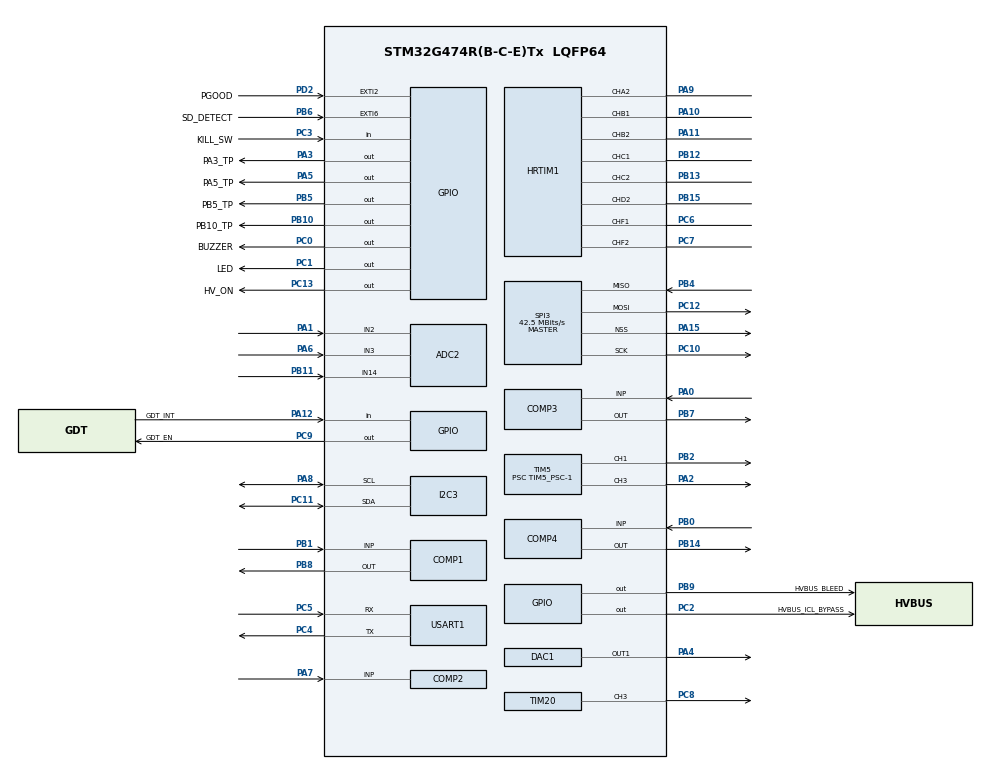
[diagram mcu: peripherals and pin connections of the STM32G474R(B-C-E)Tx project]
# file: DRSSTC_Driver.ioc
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ADC2.Channel-0\#ChannelRegularConversion=ADC_CHANNEL_2
ADC2.ContinuousConvMode=ENABLE
ADC2.EnableInjectedConversion=ENABLE
ADC2.GainCompensation=0
ADC2.InjNumberOfConversion=1
ADC2.InjectedChannel-1\#ChannelInjectedConversion=ADC_CHANNEL_14
ADC2.InjectedOffsetNumber-1\#ChannelInjectedConversion=ADC_OFFSET_NONE
ADC2.InjectedRank-1\#ChannelInjectedConversion=1
ADC2.InjectedSamplingTime-1\#ChannelInjectedConversion=ADC_SAMPLETIME_12CYCLES_5
ADC2.NbrOfConversionFlag=1
ADC2.OffsetNumber-0\#ChannelRegularConversion=ADC_OFFSET_NONE
ADC2.Rank-0\#ChannelRegularConversion=1
ADC2.Rank1_Channel=ADC_CHANNEL_14
ADC2.SamplingTime-0\#ChannelRegularConversion=ADC_SAMPLETIME_12CYCLES_5
ADC2.SingleDiff-0\#ChannelRegularConversion=ADC_DIFFERENTIAL_ENDED
COMP1.Hysteresis=COMP_HYSTERESIS_50MV
COMP2.Hysteresis=COMP_HYSTERESIS_50MV
COMP3.Hysteresis=COMP_HYSTERESIS_50MV
COMP3.TriggerMode=COMP_TRIGGERMODE_NONE
COMP4.Hysteresis=COMP_HYSTERESIS_50MV
DAC1.DAC_Channel-DAC_OUT2_Int=DAC_CHANNEL_2
DAC3.DAC_Channel-DAC_OUT2_Int=DAC_CHANNEL_2
DAC3.DAC_HighFrequency_OUT1-DAC_OUT1_Int=DAC_HIGH_FREQUENCY_INTERFACE_MODE_ABOVE_160MHZ
Dma.ADC2.3.Direction=DMA_PERIPH_TO_MEMORY
Dma.ADC2.3.EventEnable=DISABLE
Dma.ADC2.3.Instance=DMA1_Channel1
Dma.ADC2.3.MemDataAlignment=DMA_MDATAALIGN_HALFWORD
Dma.ADC2.3.MemInc=DMA_MINC_DISABLE
Dma.ADC2.3.Mode=DMA_CIRCULAR
Dma.ADC2.3.PeriphDataAlignment=DMA_PDATAALIGN_HALFWORD
Dma.ADC2.3.PeriphInc=DMA_PINC_DISABLE
Dma.ADC2.3.Polarity=HAL_DMAMUX_REQ_GEN_RISING
Dma.ADC2.3.Priority=DMA_PRIORITY_MEDIUM
Dma.ADC2.3.RequestNumber=1
Dma.ADC2.3.SignalID=NONE
Dma.ADC2.3.SyncEnable=DISABLE
Dma.ADC2.3.SyncPolarity=HAL_DMAMUX_SYNC_NO_EVENT
Dma.ADC2.3.SyncRequestNumber=1
Dma.ADC2.3.SyncSignalID=NONE
Dma.Request0=TIM5_CH2
Dma.Request1=USART1_TX
Dma.Request2=USART1_RX
Dma.Request3=ADC2
Dma.TIM5_CH2.0.Direction=DMA_PERIPH_TO_MEMORY
Dma.TIM5_CH2.0.EventEnable=DISABLE
Dma.TIM5_CH2.0.Instance=DMA2_Channel6
Dma.TIM5_CH2.0.MemDataAlignment=DMA_MDATAALIGN_WORD
Dma.TIM5_CH2.0.MemInc=DMA_MINC_DISABLE
Dma.TIM5_CH2.0.Mode=DMA_CIRCULAR
Dma.TIM5_CH2.0.PeriphDataAlignment=DMA_PDATAALIGN_WORD
Dma.TIM5_CH2.0.PeriphInc=DMA_PINC_DISABLE
Dma.TIM5_CH2.0.Polarity=HAL_DMAMUX_REQ_GEN_RISING
Dma.TIM5_CH2.0.Priority=DMA_PRIORITY_LOW
Dma.TIM5_CH2.0.RequestNumber=1
Dma.TIM5_CH2.0.SignalID=NONE
Dma.TIM5_CH2.0.SyncEnable=DISABLE
Dma.TIM5_CH2.0.SyncPolarity=HAL_DMAMUX_SYNC_NO_EVENT
Dma.TIM5_CH2.0.SyncRequestNumber=1
Dma.TIM5_CH2.0.SyncSignalID=NONE
Dma.USART1_RX.2.Direction=DMA_PERIPH_TO_MEMORY
Dma.USART1_RX.2.EventEnable=DISABLE
Dma.USART1_RX.2.Instance=DMA1_Channel6
Dma.USART1_RX.2.MemDataAlignment=DMA_MDATAALIGN_BYTE
Dma.USART1_RX.2.MemInc=DMA_MINC_ENABLE
Dma.USART1_RX.2.Mode=DMA_NORMAL
Dma.USART1_RX.2.PeriphDataAlignment=DMA_PDATAALIGN_BYTE
Dma.USART1_RX.2.PeriphInc=DMA_PINC_DISABLE
Dma.USART1_RX.2.Polarity=HAL_DMAMUX_REQ_GEN_RISING
Dma.USART1_RX.2.Priority=DMA_PRIORITY_HIGH
Dma.USART1_RX.2.RequestNumber=1
Dma.USART1_RX.2.SignalID=NONE
Dma.USART1_RX.2.SyncEnable=DISABLE
Dma.USART1_RX.2.SyncPolarity=HAL_DMAMUX_SYNC_NO_EVENT
Dma.USART1_RX.2.SyncRequestNumber=1
Dma.USART1_RX.2.SyncSignalID=NONE
Dma.USART1_TX.1.Direction=DMA_MEMORY_TO_PERIPH
Dma.USART1_TX.1.EventEnable=DISABLE
Dma.USART1_TX.1.Instance=DMA1_Channel7
Dma.USART1_TX.1.MemDataAlignment=DMA_MDATAALIGN_BYTE
Dma.USART1_TX.1.MemInc=DMA_MINC_ENABLE
Dma.USART1_TX.1.Mode=DMA_NORMAL
Dma.USART1_TX.1.PeriphDataAlignment=DMA_PDATAALIGN_BYTE
Dma.USART1_TX.1.PeriphInc=DMA_PINC_DISABLE
Dma.USART1_TX.1.Polarity=HAL_DMAMUX_REQ_GEN_RISING
Dma.USART1_TX.1.Priority=DMA_PRIORITY_HIGH
Dma.USART1_TX.1.RequestNumber=1
Dma.USART1_TX.1.SignalID=NONE
Dma.USART1_TX.1.SyncEnable=DISABLE
Dma.USART1_TX.1.SyncPolarity=HAL_DMAMUX_SYNC_NO_EVENT
Dma.USART1_TX.1.SyncRequestNumber=1
Dma.USART1_TX.1.SyncSignalID=NONE
FREERTOS.Tasks01=bspTask,24,128,StartBspTask,As weak,NULL,Dynamic,NULL,NULL
FREERTOS.configCHECK_FOR_STACK_OVERFLOW=2
FREERTOS.configTOTAL_HEAP_SIZE=45000
FREERTOS.configUSE_NEWLIB_REENTRANT=1
HRTIM1.CaptureUnit1-Output_TB1TB2=HRTIM_CAPTUREUNIT_1
HRTIM1.CaptureUnit1-Output_TC1TC2=HRTIM_CAPTUREUNIT_1
HRTIM1.CaptureUnit2-Output_TB1TB2=HRTIM_CAPTUREUNIT_2
HRTIM1.CaptureUnit2-Output_TF1TF2=HRTIM_CAPTUREUNIT_2
HRTIM1.CompareUnit1-Output_TB1TB2=HRTIM_COMPAREUNIT_1
HRTIM1.CompareUnit1-Output_TC1TC2=HRTIM_COMPAREUNIT_1
HRTIM1.CompareUnit1-Output_TD2=HRTIM_COMPAREUNIT_1
HRTIM1.CompareUnit2-Output_TA2=HRTIM_COMPAREUNIT_2
HRTIM1.CompareUnit2-Output_TB1TB2=HRTIM_COMPAREUNIT_2
HRTIM1.CompareUnit2-Output_TC1TC2=HRTIM_COMPAREUNIT_2
HRTIM1.CompareUnit3-Output_TB1TB2=__NULL
HRTIM1.CompareUnit4-Output_TB1TB2=HRTIM_COMPAREUNIT_4
HRTIM1.CompareValue1-Output_TB1TB2=TIM2_TRGO_BLANKING
HRTIM1.DeadTimeInsertion-Output_TB1TB2=HRTIM_TIMDEADTIMEINSERTION_DISABLED
HRTIM1.DeadTimeInsertion-Output_TC1TC2=HRTIM_TIMDEADTIMEINSERTION_DISABLED
HRTIM1.Event1-Output_TB1TB2=HRTIM_EVENT_1
HRTIM1.Event1-Output_TC1TC2=HRTIM_EVENT_1
HRTIM1.Event2-Output_TB1TB2=HRTIM_EVENT_2
HRTIM1.Event2-Output_TC1TC2=HRTIM_EVENT_2
HRTIM1.Event4-Output_TB1TB2=HRTIM_EVENT_4
HRTIM1.Event4-Output_TC1TC2=HRTIM_EVENT_4
HRTIM1.Event6-Output_TB1TB2=HRTIM_EVENT_6
HRTIM1.Event6-Output_TC1TC2=HRTIM_EVENT_6
HRTIM1.Event8-Output_TB1TB2=HRTIM_EVENT_8
HRTIM1.Event8-Output_TC1TC2=HRTIM_EVENT_8
HRTIM1.Event9-Output_TA2=HRTIM_EVENT_9
HRTIM1.Event_EEV1=HRTIM_EVENT_1
HRTIM1.Event_EEV2=HRTIM_EVENT_2
HRTIM1.Event_EEV3=HRTIM_EVENT_3
HRTIM1.Event_EEV4=HRTIM_EVENT_4
HRTIM1.Event_EEV5=HRTIM_EVENT_5
HRTIM1.Event_EEV6=HRTIM_EVENT_6
HRTIM1.Event_EEV7=HRTIM_EVENT_7
HRTIM1.Event_EEV8=HRTIM_EVENT_8
HRTIM1.Event_EEV9=HRTIM_EVENT_9
HRTIM1.Filter1-Output_TB1TB2=HRTIM_TIMEEVFLT_BLANKINGCMP2
HRTIM1.Filter1-Output_TC1TC2=HRTIM_TIMEEVFLT_BLANKINGCMP2
HRTIM1.Filter2-Output_TB1TB2=HRTIM_TIMEEVFLT_BLANKINGCMP1
HRTIM1.Filter2-Output_TC1TC2=HRTIM_TIMEEVFLT_BLANKINGCMP1
HRTIM1.Filter4-Output_TB1TB2=HRTIM_TIMEEVFLT_BLANKINGCMP2
HRTIM1.Filter4-Output_TC1TC2=HRTIM_TIMEEVFLT_BLANKINGCMP2
HRTIM1.Filter6-Output_TB1TB2=HRTIM_TIMEEVFLT_BLANKINGCMP2
HRTIM1.Filter6-Output_TC1TC2=HRTIM_TIMEEVFLT_BLANKINGCMP2
HRTIM1.Filter8-Output_TB1TB2=HRTIM_TIMEEVFLT_BLANKING_TIMBEEF3_TIMAOUT2
HRTIM1.Filter8-Output_TC1TC2=HRTIM_TIMEEVFLT_BLANKING_TIMCEEF3_TIMBCMP4
HRTIM1.Filter9-Output_TA2=HRTIM_TIMEEVFLT_BLANKINGCMP2
HRTIM1.Filter_EEV6=HRTIM_EVENTFILTER_2
HRTIM1.Filter_EEV7=HRTIM_EVENTFILTER_3
HRTIM1.Filter_EEV8=HRTIM_EVENTFILTER_3
HRTIM1.Filter_EEV9=HRTIM_EVENTFILTER_3
HRTIM1.Latch9-Output_TA2=HRTIM_TIMEVENTLATCH_ENABLED
HRTIM1.ModeTimeBase-Output_TB1TB2=HRTIM_MODE_SINGLESHOT_RETRIGGERABLE
HRTIM1.ModeTimeBase-Output_TC1TC2=HRTIM_MODE_SINGLESHOT_RETRIGGERABLE
HRTIM1.ModeTimeBase-Output_TD2=HRTIM_MODE_SINGLESHOT_RETRIGGERABLE
HRTIM1.ModeTimeBase-Output_TF1TF2=HRTIM_MODE_SINGLESHOT_RETRIGGERABLE
HRTIM1.NumberResetSource1-Output_TB1TB2=2
HRTIM1.NumberResetSource1-Output_TF1TF2=1
HRTIM1.NumberResetSource2-Output_TA2=1
HRTIM1.NumberResetSource2-Output_TD2=1
HRTIM1.NumberResetSource2_TB=1
HRTIM1.NumberResetSource2_TF=3
HRTIM1.NumberResetTrigger-Output_TA2=1
HRTIM1.NumberResetTrigger-Output_TB1TB2=2
HRTIM1.NumberResetTrigger-Output_TC1TC2=2
HRTIM1.NumberResetTrigger-Output_TD2=1
HRTIM1.NumberResetTrigger-Output_TF1TF2=2
HRTIM1.NumberSetSource1-Output_TB1TB2=1
HRTIM1.NumberSetSource1-Output_TF1TF2=1
HRTIM1.NumberSetSource2-Output_TA2=2
HRTIM1.NumberSetSource2-Output_TD2=2
HRTIM1.NumberSetSource2_TB=2
HRTIM1.NumberSetSource2_TF=1
HRTIM1.NumberTriggerSource_Captureconfig1-Output_TB1TB2=2
HRTIM1.NumberTriggerSource_Captureconfig1-Output_TC1TC2=2
HRTIM1.NumberTriggerSource_Captureconfig2-Output_TB1TB2=1
HRTIM1.NumberTriggerSource_Captureconfig2-Output_TF1TF2=1
HRTIM1.Periode_MASTER=0xFFDF
HRTIM1.Periode_TA=0xFFDF
HRTIM1.Periode_TB=0xFFDF
HRTIM1.Periode_TC=0xFFDF
HRTIM1.Periode_TD=0xFFDF
HRTIM1.Periode_TF=0xFFDF
HRTIM1.Polarity_EEV7=HRTIM_EVENTPOLARITY_LOW
HRTIM1.PreloadEnable-Output_TA2=HRTIM_PRELOAD_ENABLED
HRTIM1.PreloadEnable-Output_TB1TB2=HRTIM_PRELOAD_ENABLED
HRTIM1.PreloadEnable-Output_TC1TC2=HRTIM_PRELOAD_ENABLED
HRTIM1.PreloadEnable-Output_TF1TF2=HRTIM_PRELOAD_ENABLED
HRTIM1.PrescalerRatio_MASTER=HRTIM_PRESCALERRATIO_DIV1
HRTIM1.PrescalerRatio_TA=HRTIM_PRESCALERRATIO_DIV1
HRTIM1.PrescalerRatio_TB=HRTIM_PRESCALERRATIO_DIV1
HRTIM1.PrescalerRatio_TC=HRTIM_PRESCALERRATIO_DIV1
HRTIM1.PrescalerRatio_TD=HRTIM_PRESCALERRATIO_DIV1
HRTIM1.PrescalerRatio_TF=HRTIM_PRESCALERRATIO_DIV1
HRTIM1.ResetOutput1_Source1-Output_TB1TB2=HRTIM_OUTPUTRESET_EEV_2
HRTIM1.ResetOutput1_Source1-Output_TF1TF2=HRTIM_OUTPUTRESET_EEV_6
HRTIM1.ResetOutput1_Source2-Output_TB1TB2=HRTIM_OUTPUTRESET_EEV_6
HRTIM1.ResetOutput2_Source1-Output_TA2=HRTIM_OUTPUTSET_EEV_8
HRTIM1.ResetOutput2_Source1-Output_TB1TB2=HRTIM_OUTPUTRESET_TIMCMP2
HRTIM1.ResetOutput2_Source1-Output_TD2=HRTIM_OUTPUTRESET_EEV_8
HRTIM1.ResetOutput2_Source1-Output_TF1TF2=HRTIM_OUTPUTRESET_UPDATE
HRTIM1.ResetOutput2_Source2-Output_TF1TF2=HRTIM_OUTPUTRESET_NONE
HRTIM1.ResetOutput2_Source3-Output_TF1TF2=HRTIM_OUTPUTRESET_EEV_7
HRTIM1.ResetTrigger1-Output_TA2=HRTIM_TIMRESETTRIGGER_EEV_6
HRTIM1.ResetTrigger1-Output_TB1TB2=HRTIM_TIMRESETTRIGGER_EEV_2
HRTIM1.ResetTrigger1-Output_TC1TC2=HRTIM_TIMRESETTRIGGER_EEV_2
HRTIM1.ResetTrigger1-Output_TD2=HRTIM_TIMRESETTRIGGER_EEV_8
HRTIM1.ResetTrigger1-Output_TF1TF2=HRTIM_TIMRESETTRIGGER_UPDATE
HRTIM1.ResetTrigger2-Output_TB1TB2=HRTIM_TIMRESETTRIGGER_EEV_6
HRTIM1.ResetTrigger2-Output_TC1TC2=HRTIM_TIMRESETTRIGGER_EEV_6
HRTIM1.ResetTrigger2-Output_TF1TF2=HRTIM_TIMRESETTRIGGER_EEV_2
HRTIM1.ResetUpdate-Output_TA2=HRTIM_TIMUPDATEONRESET_ENABLED
HRTIM1.ResetUpdate-Output_TB1TB2=HRTIM_TIMUPDATEONRESET_ENABLED
HRTIM1.ResetUpdate-Output_TC1TC2=HRTIM_TIMUPDATEONRESET_ENABLED
HRTIM1.Sensitivity_EEV1=HRTIM_EVENTSENSITIVITY_RISINGEDGE
HRTIM1.Sensitivity_EEV2=HRTIM_EVENTSENSITIVITY_RISINGEDGE
HRTIM1.Sensitivity_EEV3=HRTIM_EVENTSENSITIVITY_RISINGEDGE
HRTIM1.Sensitivity_EEV4=HRTIM_EVENTSENSITIVITY_RISINGEDGE
HRTIM1.Sensitivity_EEV5=HRTIM_EVENTSENSITIVITY_FALLINGEDGE
HRTIM1.Sensitivity_EEV6=HRTIM_EVENTSENSITIVITY_RISINGEDGE
HRTIM1.Sensitivity_EEV8=HRTIM_EVENTSENSITIVITY_RISINGEDGE
HRTIM1.Sensitivity_EEV9=HRTIM_EVENTSENSITIVITY_RISINGEDGE
HRTIM1.SetOutput1_Source1-Output_TB1TB2=HRTIM_OUTPUTSET_TIMCMP2
HRTIM1.SetOutput1_Source1-Output_TF1TF2=HRTIM_OUTPUTSET_EEV_6
HRTIM1.SetOutput2_Source1-Output_TA2=HRTIM_OUTPUTSET_TIMAEV5_TIMDCMP1
HRTIM1.SetOutput2_Source1-Output_TB1TB2=HRTIM_OUTPUTSET_EEV_2
HRTIM1.SetOutput2_Source1-Output_TD2=HRTIM_OUTPUTSET_EEV_9
HRTIM1.SetOutput2_Source1-Output_TF1TF2=HRTIM_OUTPUTSET_NONE
HRTIM1.SetOutput2_Source2-Output_TA2=HRTIM_OUTPUTSET_EEV_9
HRTIM1.SetOutput2_Source2-Output_TB1TB2=HRTIM_OUTPUTSET_EEV_6
HRTIM1.SetOutput2_Source2-Output_TD2=HRTIM_OUTPUTSET_TIMCMP1
HRTIM1.Source_EEV2=HRTIM_EEV2SRC_TIM2_TRGO
HRTIM1.Source_EEV3=HRTIM_EEV3SRC_TIM3_TRGO
HRTIM1.Source_EEV6=HRTIM_EEV6SRC_COMP1_OUT
HRTIM1.Source_EEV8=HRTIM_EEV8SRC_COMP3_OUT
HRTIM1.Source_EEV9=HRTIM_EEV9SRC_COMP4_OUT
HRTIM1.SyncOptions=HRTIM_SYNCOPTION_MASTER
HRTIM1.SyncOutputPolarity=HRTIM_SYNCOUTPUTPOLARITY_POSITIVE
HRTIM1.SyncOutputSource=HRTIM_SYNCOUTPUTSOURCE_TIMA_START
HRTIM1.TrigHalf_TB=HRTIM_TIMERTRIGHALF_ENABLED
HRTIM1.TrigHalf_TC=HRTIM_TIMERTRIGHALF_ENABLED
HRTIM1.TriggerCapture1_Source1-Output_TB1TB2=HRTIM_CAPTURETRIGGER_EEV_2
HRTIM1.TriggerCapture1_Source1-Output_TC1TC2=HRTIM_CAPTURETRIGGER_EEV_2
HRTIM1.TriggerCapture1_Source2-Output_TB1TB2=HRTIM_CAPTURETRIGGER_EEV_6
HRTIM1.TriggerCapture1_Source2-Output_TC1TC2=HRTIM_CAPTURETRIGGER_EEV_6
HRTIM1.TriggerCapture2_Source1-Output_TB1TB2=HRTIM_CAPTURETRIGGER_EEV_8
HRTIM1.TriggerCapture2_Source1-Output_TF1TF2=HRTIM_CAPTURETRIGGER_EEV_2
I2C3.Timing=0x40B285C2
Mcu.Family=STM32G4
Mcu.Name=STM32G474R(B-C-E)Tx
Mcu.Package=LQFP64
Mcu.UserConstants=USER_START_FREQ,180000;MASTER_FREQ_HZ,170000000;TIM5_PSC,170;DRV_START_FREQ_HZ,180000;HRTIM_TIMER_PERIOD,0xFFDF;TIM2_TRGO_BLANKING,5;TIM5_ARR,10
NVIC.DMA1_Channel1_IRQn=true\:5\:0\:false\:false\:true\:true\:false\:true\:true
NVIC.DMA1_Channel6_IRQn=true\:5\:0\:false\:false\:true\:false\:false\:true\:true
NVIC.DMA1_Channel7_IRQn=true\:5\:0\:false\:false\:true\:false\:false\:true\:true
NVIC.DMA2_Channel6_IRQn=true\:5\:0\:false\:false\:true\:true\:false\:true\:true
NVIC.PriorityGroup=NVIC_PRIORITYGROUP_4
NVIC.TIM1_BRK_TIM15_IRQn=true\:15\:0\:false\:false\:true\:false\:false\:true\:true
NVIC.TimeBase=TIM1_BRK_TIM15_IRQn
NVIC.TimeBaseIP=TIM15
PA0.Mode=INP
PA0.Signal=COMP3_INP
PA1.Mode=IN2-Differential
PA1.Signal=ADC2_IN2
PA10.Mode=Output_TB1TB2
PA10.Signal=HRTIM1_CHB1
PA11.Mode=Output_TB1TB2
PA11.Signal=HRTIM1_CHB2
PA12.GPIO_Label=GDT_INT
PA12.GPIO_PuPd=GPIO_PULLUP
PA12.Signal=GPIO_Input
PA13.GPIO_Label=T_SWDIO
PA13.Mode=Trace_Asynchronous_SW
PA13.Signal=SYS_JTMS-SWDIO
PA14.GPIO_Label=T_SWCLK
PA14.Mode=Trace_Asynchronous_SW
PA14.Signal=SYS_JTCK-SWCLK
PA15.Mode=NSS_Signal_Hard_Output
PA15.Signal=SPI3_NSS
PA2.Signal=S_TIM5_CH3
PA3.GPIO_Label=PA3_TP
PA3.GPIO_Speed=GPIO_SPEED_FREQ_HIGH
PA3.Signal=GPIO_Output
PA4.Signal=COMP_DAC11_group
PA5.GPIO_Label=PA5_TP
PA5.Signal=GPIO_Output
PA6.Mode=IN2-Differential
PA6.Signal=ADC2_IN3
PA7.Mode=INP
PA7.Signal=COMP2_INP
PA8.Mode=I2C
PA8.Signal=I2C3_SCL
PA9.Mode=Output_TA2
PA9.Signal=HRTIM1_CHA2
PB0.Mode=INP
PB0.Signal=COMP4_INP
PB1.Mode=INP
PB1.Signal=COMP1_INP
PB10.GPIO_Label=PB10_TP
PB10.GPIO_Speed=GPIO_SPEED_FREQ_HIGH
PB10.Signal=GPIO_Output
PB11.Mode=IN14-Single-Ended
PB11.Signal=ADC2_IN14
PB12.Mode=Output_TC1TC2
PB12.Signal=HRTIM1_CHC1
PB13.Mode=Output_TC1TC2
PB13.Signal=HRTIM1_CHC2
PB14.Mode=ExternalOutput
PB14.Signal=COMP4_OUT
PB15.Mode=Output_TD2
PB15.Signal=HRTIM1_CHD2
PB2.Signal=S_TIM5_CH1
PB3.GPIO_Label=T_SWO
PB3.Mode=Trace_Asynchronous_SW
PB3.Signal=SYS_JTDO-SWO
PB4.Mode=Full_Duplex_Master
PB4.Signal=SPI3_MISO
PB5.GPIO_Label=PB5_TP
PB5.GPIO_Speed=GPIO_SPEED_FREQ_HIGH
PB5.Signal=GPIO_Output
PB6.GPIO_Label=SD_DETECT
PB6.GPIO_ModeDefaultEXTI=GPIO_MODE_IT_RISING_FALLING
PB6.Signal=GPXTI6
PB7.Mode=ExternalOutput
PB7.Signal=COMP3_OUT
PB8-BOOT0.Mode=ExternalOutput
PB8-BOOT0.Signal=COMP1_OUT
PB9.GPIO_Label=HVBUS_BLEED
PB9.GPIO_Speed=GPIO_SPEED_FREQ_HIGH
PB9.Signal=GPIO_Output
PC0.GPIO_Label=BUZZER
PC0.GPIO_Speed=GPIO_SPEED_FREQ_HIGH
PC0.PinState=GPIO_PIN_RESET
PC0.Signal=GPIO_Output
PC1.GPIO_Label=LED
PC1.GPIO_Speed=GPIO_SPEED_FREQ_HIGH
PC1.PinState=GPIO_PIN_RESET
PC1.Signal=GPIO_Output
PC10.Mode=Full_Duplex_Master
PC10.Signal=SPI3_SCK
PC11.Mode=I2C
PC11.Signal=I2C3_SDA
PC12.Mode=Full_Duplex_Master
PC12.Signal=SPI3_MOSI
PC13.GPIO_Label=HV_ON
PC13.Signal=GPIO_Output
PC14-OSC32_IN.GPIO_Label=RCC_OSC32_IN
PC14-OSC32_IN.Signal=RCC_OSC32_IN
PC15-OSC32_OUT.GPIO_Label=RCC_OSC32_OUT
PC15-OSC32_OUT.Signal=RCC_OSC32_OUT
PC2.GPIO_Label=HVBUS_ICL_BYPASS
PC2.GPIO_Speed=GPIO_SPEED_FREQ_HIGH
PC2.Signal=GPIO_Output
PC3.GPIO_Label=KILL_SW
PC3.Signal=GPIO_Input
PC4.Mode=Asynchronous
PC4.Signal=USART1_TX
PC5.Mode=Asynchronous
PC5.Signal=USART1_RX
PC6.Mode=Output_TF1TF2
PC6.Signal=HRTIM1_CHF1
PC7.Mode=Output_TF1TF2
PC7.Signal=HRTIM1_CHF2
PC8.Signal=S_TIM20_CH3
PC9.GPIO_Label=GDT_EN
PC9.GPIO_ModeDefaultOutputPP=GPIO_MODE_OUTPUT_PP
PC9.GPIO_Speed=GPIO_SPEED_FREQ_HIGH
PC9.PinState=GPIO_PIN_SET
PC9.Signal=GPIO_Output
PD2.GPIO_Label=PGOOD
PD2.GPIO_ModeDefaultEXTI=GPIO_MODE_IT_RISING_FALLING
PD2.Signal=GPXTI2
PF0-OSC_IN.GPIO_Label=RCC_OSC_IN
PF0-OSC_IN.Signal=RCC_OSC_IN
PF1-OSC_OUT.GPIO_Label=RCC_OSC_OUT
PF1-OSC_OUT.Signal=RCC_OSC_OUT
ProjectManager.HeapSize=0x200
ProjectManager.StackSize=0x400
ProjectManager.TargetToolchain=STM32CubeIDE
RCC.ADC12Freq_Value=170000000
RCC.ADC345Freq_Value=170000000
RCC.AHBFreq_Value=170000000
RCC.APB1Freq_Value=170000000
RCC.APB1TimFreq_Value=170000000
RCC.APB2Freq_Value=170000000
RCC.APB2TimFreq_Value=170000000
RCC.CortexFreq_Value=170000000
RCC.EXTERNAL_CLOCK_VALUE=12288000
RCC.HCLKFreq_Value=170000000
RCC.HSE_VALUE=24000000
RCC.HSI48_VALUE=48000000
RCC.HSI_VALUE=16000000
RCC.LSE_VALUE=32768
RCC.PLLM=RCC_PLLM_DIV4
RCC.PLLN=85
RCC.RTCClockSelection=RCC_RTCCLKSOURCE_LSE
RCC.SYSCLKFreq_VALUE=170000000
RCC.SYSCLKSource=RCC_SYSCLKSOURCE_PLLCLK
RCC.USBFreq_Value=170000000
RCC.VCOOutputFreq_Value=340000000
SH.COMP_DAC11_group.0=DAC1_OUT1,DAC_OUT1_ExtAndInt
SH.S_TIM20_CH3.0=TIM20_CH3,PWM Generation3 CH3
SH.S_TIM5_CH1.0=TIM5_CH1,PWM Generation1 CH1
SH.S_TIM5_CH3.0=TIM5_CH3,PWM Generation3 CH3
SPI3.BaudRatePrescaler=SPI_BAUDRATEPRESCALER_4
SPI3.CalculateBaudRate=42.5 MBits/s
SPI3.Direction=SPI_DIRECTION_2LINES
SPI3.Mode=SPI_MODE_MASTER
SPI3.VirtualNSS=VM_NSSHARD
SPI3.VirtualType=VM_MASTER
TIM2.AutoReloadPreload=TIM_AUTORELOAD_PRELOAD_ENABLE
TIM2.Channel-Output\ Compare1\ No\ Output=TIM_CHANNEL_1
TIM2.CounterMode=TIM_COUNTERMODE_DOWN
TIM2.OC1Preload=ENABLE
TIM2.OCMode_1=TIM_OCMODE_TOGGLE
TIM2.PeriodNoDither=MASTER_FREQ_HZ/DRV_START_FREQ_HZ
TIM2.Prescaler=1
TIM2.TIM_MasterOutputTrigger=TIM_TRGO_OC1
TIM2.TIM_MasterSlaveMode=TIM_MASTERSLAVEMODE_ENABLE
TIM20.Channel-PWM\ Generation3\ CH3=TIM_CHANNEL_3
TIM5.Channel-Output\ Compare2\ No\ Output=TIM_CHANNEL_2
TIM5.Channel-PWM\ Generation1\ CH1=TIM_CHANNEL_1
TIM5.Channel-PWM\ Generation3\ CH3=TIM_CHANNEL_3
TIM5.PeriodNoDither=TIM5_ARR-1
TIM5.Prescaler=TIM5_PSC-1
TIM5.PulseNoDither_1=0
USART1.VirtualMode-Asynchronous=VM_ASYNC
VP_COMP1_VS_DAC1OUT1.Mode=INM_DAC1OUT1
VP_COMP2_VS_DAC1OUT2.Mode=INM_DAC1OUT2
VP_COMP3_VS_DAC3OUT1.Mode=INM_DAC3OUT1
VP_COMP4_VS_VREFINT.Mode=VREFINT
VP_DAC1_VS_DACI2.Mode=DAC_OUT2_Int
VP_DAC3_VS_DACI1.Mode=DAC_OUT1_Int
VP_DAC3_VS_DACI2.Mode=DAC_OUT2_Int
VP_FREERTOS_VS_CMSIS_V2.Mode=CMSIS_V2
VP_HRTIM1_VS_hrtimMasterTimerNoOutput.Mode=MasterTimer
VP_HRTIM1_VirtualSync.Mode=SCOUT_SCINmodeVirtual
VP_SYS_VS_DBSignals.Mode=DisableDeadBatterySignals
VP_SYS_VS_tim15.Mode=TIM15
VP_TIM20_VS_ClockSourceINT.Mode=Internal
VP_TIM2_VS_ClockSourceINT.Mode=Internal
VP_TIM2_VS_ClockSourceITR.Mode=TriggerSource_ITR10
VP_TIM2_VS_ControllerModeReset.Mode=Reset Mode
VP_TIM2_VS_no_output1.Mode=Output Compare1 No Output
VP_TIM5_VS_ClockSourceINT.Mode=Internal
VP_TIM5_VS_no_output2.Mode=Output Compare2 No Output
board=NUCLEO-G474RE

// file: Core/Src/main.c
/* USER CODE BEGIN Header */
/**
  ******************************************************************************
  * @file           : main.c
  * @brief          : Main program body
  ******************************************************************************
  * @attention
  *
  * Copyright (c) 2025 STMicroelectronics.
  * All rights reserved.
  *
  * This software is licensed under terms that can be found in the LICENSE file
  * in the root directory of this software component.
  * If no LICENSE file comes with this software, it is provided AS-IS.
  *
  ******************************************************************************
  */
/* USER CODE END Header */
#include "main.h"
#include "cmsis_os.h"
#include "adc.h"
#include "comp.h"
#include "dac.h"
#include "dma.h"
#include "hrtim.h"
#include "i2c.h"
#include "spi.h"
#include "tim.h"
#include "usart.h"
#include "gpio.h"

/* USER CODE BEGIN Includes */

#include "mujoe_resdrv.h"
#include "mujoe_dac.h"
#include "mujoe_comp.h"
#include "mujoe_dma.h"
#include <string.h>

/* USER CODE END Includes */

void SystemClock_Config(void);
void MX_FREERTOS_Init(void);

int main(void)
{

  /* MCU Configuration--------------------------------------------------------*/

  /* Reset of all peripherals, Initializes the Flash interface and the Systick. */
  HAL_Init();

  /* Configure the system clock */
  SystemClock_Config();

  /* Initialize all configured peripherals */
  MX_GPIO_Init();
  MX_DMA_Init();
  MX_DAC1_Init();
  MX_COMP3_Init();
  MX_DAC3_Init();
  MX_HRTIM1_Init();
  MX_COMP2_Init();
  MX_TIM2_Init();
  MX_COMP4_Init();
  MX_TIM5_Init();
  MX_COMP1_Init();
  MX_USART1_UART_Init();
  MX_ADC2_Init();
  MX_SPI3_Init();
  MX_I2C3_Init();
  MX_TIM20_Init();

  /* Init scheduler */
  osKernelInitialize();  /* Call init function for freertos objects (in cmsis_os2.c) */
  MX_FREERTOS_Init();

  /* Start scheduler */
  osKernelStart();

  /* We should never get here as control is now taken by the scheduler */

  /* Infinite loop */
  /* USER CODE BEGIN WHILE */
  LOG_INFO("Init complete, entering terminal loop.");
  while (1)
  {
    /* USER CODE END WHILE */

  }
}

void SystemClock_Config(void)
{
  LL_FLASH_SetLatency(LL_FLASH_LATENCY_4);
  while(LL_FLASH_GetLatency() != LL_FLASH_LATENCY_4)
  {
  }
  LL_PWR_EnableRange1BoostMode();
  LL_RCC_HSI_Enable();
   /* Wait till HSI is ready */
  while(LL_RCC_HSI_IsReady() != 1)
  {
  }

  LL_RCC_HSI_SetCalibTrimming(64);
  LL_RCC_PLL_ConfigDomain_SYS(LL_RCC_PLLSOURCE_HSI, LL_RCC_PLLM_DIV_4, 85, LL_RCC_PLLR_DIV_2);
  LL_RCC_PLL_EnableDomain_SYS();
  LL_RCC_PLL_Enable();
   /* Wait till PLL is ready */
  while(LL_RCC_PLL_IsReady() != 1)
  {
  }

  LL_RCC_SetSysClkSource(LL_RCC_SYS_CLKSOURCE_PLL);
  LL_RCC_SetAHBPrescaler(LL_RCC_SYSCLK_DIV_2);
   /* Wait till System clock is ready */
  while(LL_RCC_GetSysClkSource() != LL_RCC_SYS_CLKSOURCE_STATUS_PLL)
  {
  }

  /* Insure 1us transition state at intermediate medium speed clock*/
  for (__IO uint32_t i = (170 >> 1); i !=0; i--);

  /* Set AHB prescaler*/
  LL_RCC_SetAHBPrescaler(LL_RCC_SYSCLK_DIV_1);
  LL_RCC_SetAPB1Prescaler(LL_RCC_APB1_DIV_1);
  LL_RCC_SetAPB2Prescaler(LL_RCC_APB2_DIV_1);
  LL_SetSystemCoreClock(170000000);

   /* Update the time base */
  if (HAL_InitTick (TICK_INT_PRIORITY) != HAL_OK)
  {
    Error_Handler();
  }
}

/* USER CODE BEGIN 4 */
/**
  * @brief  DMA transfer complete callback
  * @note   This function is executed when the transfer complete interrupt
  *         is generated after DMA transfer
  * @retval None
  */
void TransferComplete_Callback()
{

	TRAP_MCU();
}

/**
  * @brief  DMA transfer error callback
  * @note   This function is executed when the transfer error interrupt
  *         is generated during DMA transfer
  * @retval None
  */
void TransferError_Callback()
{
	TRAP_MCU();
	// Handle error
}
/* USER CODE END 4 */

void HAL_TIM_PeriodElapsedCallback(TIM_HandleTypeDef *htim)
{
  if (htim->Instance == TIM15)
  {
    HAL_IncTick();
  }
}

void Error_Handler(void)
{
  __disable_irq();
  while (1)
  {
  }
}

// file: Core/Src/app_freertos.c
/* USER CODE BEGIN Header */
/**
  ******************************************************************************
  * File Name          : app_freertos.c
  * Description        : Code for freertos applications
  ******************************************************************************
  * @attention
  *
  * Copyright (c) 2025 STMicroelectronics.
  * All rights reserved.
  *
  * This software is licensed under terms that can be found in the LICENSE file
  * in the root directory of this software component.
  * If no LICENSE file comes with this software, it is provided AS-IS.
  *
  ******************************************************************************
  */
/* USER CODE END Header */

#include "FreeRTOS.h"
#include "task.h"
#include "main.h"
#include "cmsis_os.h"

/* USER CODE BEGIN Includes */
#include "resDriveTask.h"
#include "commTask.h"
/* USER CODE END Includes */

/* Definitions for bspTask */
osThreadId_t bspTaskHandle;
const osThreadAttr_t bspTask_attributes = {
  .name = "bspTask",
  .priority = (osPriority_t) osPriorityNormal,
  .stack_size = 128 * 4
};

void StartBspTask(void *argument);

void MX_FREERTOS_Init(void); /* (MISRA C 2004 rule 8.1) */

/* Hook prototypes */
void vApplicationStackOverflowHook(xTaskHandle xTask, signed char *pcTaskName);

/* USER CODE BEGIN 4 */
void vApplicationStackOverflowHook(xTaskHandle xTask, signed char *pcTaskName)
{
   /* Run time stack overflow checking is performed if
   configCHECK_FOR_STACK_OVERFLOW is defined to 1 or 2. This hook function is
   called if a stack overflow is detected. */
}
/* USER CODE END 4 */

void MX_FREERTOS_Init(void) {
  /* USER CODE BEGIN Init */
  mujoe_err_t err = MUJOE_ERR_NONE;
  err |= resDrvTsk_init();
  err |= commTsk_initTask();
  if( err != MUJOE_ERR_NONE )
  {
	  TRAP_MCU();
  }
  return;	// Prevents the generated default task from being created needlessly
  /* USER CODE END Init */

  /* Create the thread(s) */
  /* creation of bspTask */
  bspTaskHandle = osThreadNew(StartBspTask, NULL, &bspTask_attributes);

}

__weak void StartBspTask(void *argument)
{
  for(;;)
  {
    osDelay(1);
  }
}
